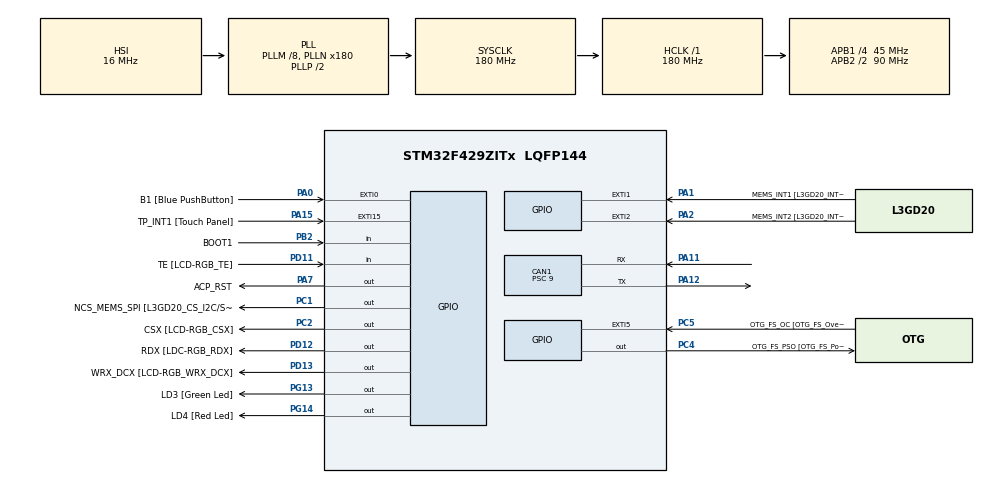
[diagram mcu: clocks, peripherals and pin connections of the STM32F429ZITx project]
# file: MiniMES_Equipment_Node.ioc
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CAN1.BS1=CAN_BS1_8TQ
CAN1.CalculateBaudRate=500000
CAN1.CalculateTimeBit=2000
CAN1.CalculateTimeQuantum=200.0
CAN1.Prescaler=9
FREERTOS.Tasks01=SensorTask,0,128,StartSensorTask,Default,NULL,Dynamic,NULL,NULL
Mcu.Family=STM32F4
Mcu.Name=STM32F429ZITx
Mcu.Package=LQFP144
NVIC.CAN1_RX0_IRQn=true\:5\:0\:false\:false\:true\:true\:true\:true\:true
NVIC.PriorityGroup=NVIC_PRIORITYGROUP_4
PA0/WKUP.GPIO_Label=B1 [Blue PushButton]
PA0/WKUP.GPIO_ModeDefaultEXTI=GPIO_MODE_EVT_RISING
PA0/WKUP.GPIO_PuPd=GPIO_NOPULL
PA0/WKUP.Signal=GPXTI0
PA1.GPIO_Label=MEMS_INT1 [L3GD20_INT1]
PA1.GPIO_ModeDefaultEXTI=GPIO_MODE_EVT_RISING
PA1.GPIO_PuPd=GPIO_NOPULL
PA1.Signal=GPXTI1
PA10.GPIO_Label=STLINK_TX [STM32F103CBT6_PA2]
PA10.Signal=USART1_RX
PA11.Mode=CAN_Activate
PA11.Signal=CAN1_RX
PA12.Mode=CAN_Activate
PA12.Signal=CAN1_TX
PA13.GPIO_Label=SWDIO
PA13.Mode=Serial_Wire
PA13.Signal=SYS_JTMS-SWDIO
PA14.GPIO_Label=SWCLK
PA14.Mode=Serial_Wire
PA14.Signal=SYS_JTCK-SWCLK
PA15.GPIO_Label=TP_INT1 [Touch Panel]
PA15.GPIO_ModeDefaultEXTI=GPIO_MODE_EVT_RISING
PA15.GPIO_PuPd=GPIO_NOPULL
PA15.Signal=GPXTI15
PA2.GPIO_Label=MEMS_INT2 [L3GD20_INT2]
PA2.GPIO_ModeDefaultEXTI=GPIO_MODE_EVT_RISING
PA2.GPIO_PuPd=GPIO_NOPULL
PA2.Signal=GPXTI2
PA3.GPIO_Label=B5
PA3.GPIO_Mode=GPIO_MODE_AF_PP
PA3.GPIO_PuPd=GPIO_NOPULL
PA3.GPIO_Speed=GPIO_SPEED_FREQ_LOW
PA3.Signal=LTDC_B5
PA4.GPIO_Label=VSYNC
PA4.GPIO_Mode=GPIO_MODE_AF_PP
PA4.GPIO_PuPd=GPIO_NOPULL
PA4.GPIO_Speed=GPIO_SPEED_FREQ_LOW
PA4.Signal=LTDC_VSYNC
PA6.GPIO_Label=G2
PA6.GPIO_Mode=GPIO_MODE_AF_PP
PA6.GPIO_PuPd=GPIO_NOPULL
PA6.GPIO_Speed=GPIO_SPEED_FREQ_LOW
PA6.Signal=LTDC_G2
PA7.GPIO_Label=ACP_RST
PA7.GPIO_Mode=GPIO_MODE_OUTPUT_PP
PA7.GPIO_PuPd=GPIO_NOPULL
PA7.GPIO_Speed=GPIO_SPEED_FREQ_LOW
PA7.Signal=GPIO_Output
PA8.GPIO_Label=I2C3_SCL [ACP/RF_SCL]
PA8.GPIO_Mode=GPIO_MODE_AF_OD
PA8.GPIO_PuPd=GPIO_NOPULL
PA8.GPIO_Speed=GPIO_SPEED_FREQ_LOW
PA8.Signal=I2C3_SCL
PA9.GPIO_Label=STLINK_RX [STM32F103CBT6_PA3]
PA9.Signal=USART1_TX
PB0.GPIO_Label=R3
PB0.GPIO_Mode=GPIO_MODE_AF_PP
PB0.GPIO_PuPd=GPIO_NOPULL
PB0.GPIO_Speed=GPIO_SPEED_FREQ_LOW
PB0.Signal=LTDC_R3
PB1.GPIO_Label=R6
PB1.GPIO_Mode=GPIO_MODE_AF_PP
PB1.GPIO_PuPd=GPIO_NOPULL
PB1.GPIO_Speed=GPIO_SPEED_FREQ_LOW
PB1.Signal=LTDC_R6
PB10.GPIO_Label=G4
PB10.GPIO_Mode=GPIO_MODE_AF_PP
PB10.GPIO_PuPd=GPIO_NOPULL
PB10.GPIO_Speed=GPIO_SPEED_FREQ_LOW
PB10.Signal=LTDC_G4
PB11.GPIO_Label=G5
PB11.GPIO_Mode=GPIO_MODE_AF_PP
PB11.GPIO_PuPd=GPIO_NOPULL
PB11.GPIO_Speed=GPIO_SPEED_FREQ_LOW
PB11.Signal=LTDC_G5
PB12.GPIO_Label=OTG_HS_ID
PB12.GPIO_Mode=GPIO_MODE_AF_PP
PB12.GPIO_PuPd=GPIO_NOPULL
PB12.GPIO_Speed=GPIO_SPEED_FREQ_LOW
PB12.Signal=USB_OTG_HS_ID
PB13.GPIO_Label=VBUS_HS
PB13.GPIO_Mode=GPIO_MODE_INPUT
PB13.GPIO_PuPd=GPIO_NOPULL
PB13.Signal=USB_OTG_HS_VBUS
PB14.GPIO_Label=OTG_HS_DM
PB14.GPIO_Mode=GPIO_MODE_AF_PP
PB14.GPIO_PuPd=GPIO_NOPULL
PB14.GPIO_Speed=GPIO_SPEED_FREQ_LOW
PB14.Signal=USB_OTG_HS_DM
PB15.GPIO_Label=OTG_HS_DP
PB15.GPIO_Mode=GPIO_MODE_AF_PP
PB15.GPIO_PuPd=GPIO_NOPULL
PB15.GPIO_Speed=GPIO_SPEED_FREQ_LOW
PB15.Signal=USB_OTG_HS_DP
PB2/BOOT1.GPIO_Label=BOOT1
PB2/BOOT1.GPIO_Mode=GPIO_MODE_INPUT
PB2/BOOT1.GPIO_PuPd=GPIO_NOPULL
PB2/BOOT1.Signal=GPIO_Input
PB5.GPIO_Label=SDCKE1
PB5.GPIO_Mode=GPIO_MODE_AF_PP
PB5.GPIO_PuPd=GPIO_NOPULL
PB5.GPIO_Speed=GPIO_SPEED_FREQ_VERY_HIGH
PB5.Signal=FMC_SDCKE1
PB6.GPIO_Label=SDNE1 [SDRAM_CS]
PB6.GPIO_Mode=GPIO_MODE_AF_PP
PB6.GPIO_PuPd=GPIO_NOPULL
PB6.GPIO_Speed=GPIO_SPEED_FREQ_VERY_HIGH
PB6.Signal=FMC_SDNE1
PB8.GPIO_Label=B6
PB8.GPIO_Mode=GPIO_MODE_AF_PP
PB8.GPIO_PuPd=GPIO_NOPULL
PB8.GPIO_Speed=GPIO_SPEED_FREQ_LOW
PB8.Signal=LTDC_B6
PB9.GPIO_Label=B7
PB9.GPIO_Mode=GPIO_MODE_AF_PP
PB9.GPIO_PuPd=GPIO_NOPULL
PB9.GPIO_Speed=GPIO_SPEED_FREQ_LOW
PB9.Signal=LTDC_B7
PC0.GPIO_Label=SDNWE
PC0.GPIO_Mode=GPIO_MODE_AF_PP
PC0.GPIO_PuPd=GPIO_NOPULL
PC0.GPIO_Speed=GPIO_SPEED_FREQ_VERY_HIGH
PC0.Signal=FMC_SDNWE
PC1.GPIO_Label=NCS_MEMS_SPI [L3GD20_CS_I2C/SPI]
PC1.GPIO_Mode=GPIO_MODE_OUTPUT_PP
PC1.GPIO_PuPd=GPIO_NOPULL
PC1.GPIO_Speed=GPIO_SPEED_FREQ_LOW
PC1.Signal=GPIO_Output
PC10.GPIO_Label=R2
PC10.GPIO_Mode=GPIO_MODE_AF_PP
PC10.GPIO_PuPd=GPIO_NOPULL
PC10.GPIO_Speed=GPIO_SPEED_FREQ_LOW
PC10.Signal=LTDC_R2
PC14/OSC32_IN.GPIO_Label=PC14-OSC32_IN
PC14/OSC32_IN.Signal=RCC_OSC32_IN
PC15/OSC32_OUT.GPIO_Label=PC15-OSC32_OUT
PC15/OSC32_OUT.Signal=RCC_OSC32_OUT
PC2.GPIO_Label=CSX [LCD-RGB_CSX]
PC2.GPIO_Mode=GPIO_MODE_OUTPUT_PP
PC2.GPIO_PuPd=GPIO_NOPULL
PC2.GPIO_Speed=GPIO_SPEED_FREQ_LOW
PC2.Signal=GPIO_Output
PC4.GPIO_Label=OTG_FS_PSO [OTG_FS_PowerSwitchOn]
PC4.GPIO_Mode=GPIO_MODE_OUTPUT_PP
PC4.GPIO_PuPd=GPIO_NOPULL
PC4.GPIO_Speed=GPIO_SPEED_FREQ_LOW
PC4.Signal=GPIO_Output
PC5.GPIO_Label=OTG_FS_OC [OTG_FS_OverCurrent]
PC5.GPIO_ModeDefaultEXTI=GPIO_MODE_EVT_RISING
PC5.Signal=GPXTI5
PC6.GPIO_Label=HSYNC
PC6.GPIO_Mode=GPIO_MODE_AF_PP
PC6.GPIO_PuPd=GPIO_NOPULL
PC6.GPIO_Speed=GPIO_SPEED_FREQ_LOW
PC6.Signal=LTDC_HSYNC
PC7.GPIO_Label=G6
PC7.GPIO_Mode=GPIO_MODE_AF_PP
PC7.GPIO_PuPd=GPIO_NOPULL
PC7.GPIO_Speed=GPIO_SPEED_FREQ_LOW
PC7.Signal=LTDC_G6
PC9.GPIO_Label=I2C3_SDA [ACP/RF_SDA]
PC9.GPIO_Mode=GPIO_MODE_AF_OD
PC9.GPIO_PuPd=GPIO_NOPULL
PC9.GPIO_Speed=GPIO_SPEED_FREQ_LOW
PC9.Signal=I2C3_SDA
PD0.GPIO_Label=D2
PD0.GPIO_Mode=GPIO_MODE_AF_PP
PD0.GPIO_PuPd=GPIO_NOPULL
PD0.GPIO_Speed=GPIO_SPEED_FREQ_VERY_HIGH
PD0.Signal=FMC_D2_DA2
PD1.GPIO_Label=D3
PD1.GPIO_Mode=GPIO_MODE_AF_PP
PD1.GPIO_PuPd=GPIO_NOPULL
PD1.GPIO_Speed=GPIO_SPEED_FREQ_VERY_HIGH
PD1.Signal=FMC_D3_DA3
PD10.GPIO_Label=D15
PD10.GPIO_Mode=GPIO_MODE_AF_PP
PD10.GPIO_PuPd=GPIO_NOPULL
PD10.GPIO_Speed=GPIO_SPEED_FREQ_VERY_HIGH
PD10.Signal=FMC_D15_DA15
PD11.GPIO_Label=TE [LCD-RGB_TE]
PD11.GPIO_Mode=GPIO_MODE_INPUT
PD11.GPIO_PuPd=GPIO_NOPULL
PD11.Signal=GPIO_Input
PD12.GPIO_Label=RDX [LDC-RGB_RDX]
PD12.GPIO_Mode=GPIO_MODE_OUTPUT_PP
PD12.GPIO_PuPd=GPIO_NOPULL
PD12.GPIO_Speed=GPIO_SPEED_FREQ_LOW
PD12.Signal=GPIO_Output
PD13.GPIO_Label=WRX_DCX [LCD-RGB_WRX_DCX]
PD13.GPIO_Mode=GPIO_MODE_OUTPUT_PP
PD13.GPIO_PuPd=GPIO_NOPULL
PD13.GPIO_Speed=GPIO_SPEED_FREQ_LOW
PD13.Signal=GPIO_Output
PD14.GPIO_Label=D0
PD14.GPIO_Mode=GPIO_MODE_AF_PP
PD14.GPIO_PuPd=GPIO_NOPULL
PD14.GPIO_Speed=GPIO_SPEED_FREQ_VERY_HIGH
PD14.Signal=FMC_D0_DA0
PD15.GPIO_Label=D1
PD15.GPIO_Mode=GPIO_MODE_AF_PP
PD15.GPIO_PuPd=GPIO_NOPULL
PD15.GPIO_Speed=GPIO_SPEED_FREQ_VERY_HIGH
PD15.Signal=FMC_D1_DA1
PD3.GPIO_Label=G7
PD3.GPIO_Mode=GPIO_MODE_AF_PP
PD3.GPIO_PuPd=GPIO_NOPULL
PD3.GPIO_Speed=GPIO_SPEED_FREQ_LOW
PD3.Signal=LTDC_G7
PD6.GPIO_Label=B2
PD6.GPIO_Mode=GPIO_MODE_AF_PP
PD6.GPIO_PuPd=GPIO_NOPULL
PD6.GPIO_Speed=GPIO_SPEED_FREQ_LOW
PD6.Signal=LTDC_B2
PD8.GPIO_Label=D13
PD8.GPIO_Mode=GPIO_MODE_AF_PP
PD8.GPIO_PuPd=GPIO_NOPULL
PD8.GPIO_Speed=GPIO_SPEED_FREQ_VERY_HIGH
PD8.Signal=FMC_D13_DA13
PD9.GPIO_Label=D14
PD9.GPIO_Mode=GPIO_MODE_AF_PP
PD9.GPIO_PuPd=GPIO_NOPULL
PD9.GPIO_Speed=GPIO_SPEED_FREQ_VERY_HIGH
PD9.Signal=FMC_D14_DA14
PE0.GPIO_Label=NBL0 [SDRAM_LDQM]
PE0.GPIO_Mode=GPIO_MODE_AF_PP
PE0.GPIO_PuPd=GPIO_NOPULL
PE0.GPIO_Speed=GPIO_SPEED_FREQ_VERY_HIGH
PE0.Signal=FMC_NBL0
PE1.GPIO_Label=NBL1 [SDRAM_UDQM]
PE1.GPIO_Mode=GPIO_MODE_AF_PP
PE1.GPIO_PuPd=GPIO_NOPULL
PE1.GPIO_Speed=GPIO_SPEED_FREQ_VERY_HIGH
PE1.Signal=FMC_NBL1
PE10.GPIO_Label=D7
PE10.GPIO_Mode=GPIO_MODE_AF_PP
PE10.GPIO_PuPd=GPIO_NOPULL
PE10.GPIO_Speed=GPIO_SPEED_FREQ_VERY_HIGH
PE10.Signal=FMC_D7_DA7
PE11.GPIO_Label=D8
PE11.GPIO_Mode=GPIO_MODE_AF_PP
PE11.GPIO_PuPd=GPIO_NOPULL
PE11.GPIO_Speed=GPIO_SPEED_FREQ_VERY_HIGH
PE11.Signal=FMC_D8_DA8
PE12.GPIO_Label=D9
PE12.GPIO_Mode=GPIO_MODE_AF_PP
PE12.GPIO_PuPd=GPIO_NOPULL
PE12.GPIO_Speed=GPIO_SPEED_FREQ_VERY_HIGH
PE12.Signal=FMC_D9_DA9
PE13.GPIO_Label=D10
PE13.GPIO_Mode=GPIO_MODE_AF_PP
PE13.GPIO_PuPd=GPIO_NOPULL
PE13.GPIO_Speed=GPIO_SPEED_FREQ_VERY_HIGH
PE13.Signal=FMC_D10_DA10
PE14.GPIO_Label=D11
PE14.GPIO_Mode=GPIO_MODE_AF_PP
PE14.GPIO_PuPd=GPIO_NOPULL
PE14.GPIO_Speed=GPIO_SPEED_FREQ_VERY_HIGH
PE14.Signal=FMC_D11_DA11
PE15.GPIO_Label=D12
PE15.GPIO_Mode=GPIO_MODE_AF_PP
PE15.GPIO_PuPd=GPIO_NOPULL
PE15.GPIO_Speed=GPIO_SPEED_FREQ_VERY_HIGH
PE15.Signal=FMC_D12_DA12
PE7.GPIO_Label=D4
PE7.GPIO_Mode=GPIO_MODE_AF_PP
PE7.GPIO_PuPd=GPIO_NOPULL
PE7.GPIO_Speed=GPIO_SPEED_FREQ_VERY_HIGH
PE7.Signal=FMC_D4_DA4
PE8.GPIO_Label=D5
PE8.GPIO_Mode=GPIO_MODE_AF_PP
PE8.GPIO_PuPd=GPIO_NOPULL
PE8.GPIO_Speed=GPIO_SPEED_FREQ_VERY_HIGH
PE8.Signal=FMC_D5_DA5
PE9.GPIO_Label=D6
PE9.GPIO_Mode=GPIO_MODE_AF_PP
PE9.GPIO_PuPd=GPIO_NOPULL
PE9.GPIO_Speed=GPIO_SPEED_FREQ_VERY_HIGH
PE9.Signal=FMC_D6_DA6
PF0.GPIO_Label=A0
PF0.GPIO_Mode=GPIO_MODE_AF_PP
PF0.GPIO_PuPd=GPIO_NOPULL
PF0.GPIO_Speed=GPIO_SPEED_FREQ_VERY_HIGH
PF0.Signal=FMC_A0
PF1.GPIO_Label=A1
PF1.GPIO_Mode=GPIO_MODE_AF_PP
PF1.GPIO_PuPd=GPIO_NOPULL
PF1.GPIO_Speed=GPIO_SPEED_FREQ_VERY_HIGH
PF1.Signal=FMC_A1
PF10.GPIO_Label=ENABLE [LCD-RGB_ENABLE]
PF10.GPIO_Mode=GPIO_MODE_AF_PP
PF10.GPIO_PuPd=GPIO_NOPULL
PF10.GPIO_Speed=GPIO_SPEED_FREQ_LOW
PF10.Signal=LTDC_DE
PF11.GPIO_Label=SDNRAS
PF11.GPIO_Mode=GPIO_MODE_AF_PP
PF11.GPIO_PuPd=GPIO_NOPULL
PF11.GPIO_Speed=GPIO_SPEED_FREQ_VERY_HIGH
PF11.Signal=FMC_SDNRAS
PF12.GPIO_Label=A6
PF12.GPIO_Mode=GPIO_MODE_AF_PP
PF12.GPIO_PuPd=GPIO_NOPULL
PF12.GPIO_Speed=GPIO_SPEED_FREQ_VERY_HIGH
PF12.Signal=FMC_A6
PF13.GPIO_Label=A7
PF13.GPIO_Mode=GPIO_MODE_AF_PP
PF13.GPIO_PuPd=GPIO_NOPULL
PF13.GPIO_Speed=GPIO_SPEED_FREQ_VERY_HIGH
PF13.Signal=FMC_A7
PF14.GPIO_Label=A8
PF14.GPIO_Mode=GPIO_MODE_AF_PP
PF14.GPIO_PuPd=GPIO_NOPULL
PF14.GPIO_Speed=GPIO_SPEED_FREQ_VERY_HIGH
PF14.Signal=FMC_A8
PF15.GPIO_Label=A9
PF15.GPIO_Mode=GPIO_MODE_AF_PP
PF15.GPIO_PuPd=GPIO_NOPULL
PF15.GPIO_Speed=GPIO_SPEED_FREQ_VERY_HIGH
PF15.Signal=FMC_A9
PF2.GPIO_Label=A2
PF2.GPIO_Mode=GPIO_MODE_AF_PP
PF2.GPIO_PuPd=GPIO_NOPULL
PF2.GPIO_Speed=GPIO_SPEED_FREQ_VERY_HIGH
PF2.Signal=FMC_A2
PF3.GPIO_Label=A3
PF3.GPIO_Mode=GPIO_MODE_AF_PP
PF3.GPIO_PuPd=GPIO_NOPULL
PF3.GPIO_Speed=GPIO_SPEED_FREQ_VERY_HIGH
PF3.Signal=FMC_A3
PF4.GPIO_Label=A4
PF4.GPIO_Mode=GPIO_MODE_AF_PP
PF4.GPIO_PuPd=GPIO_NOPULL
PF4.GPIO_Speed=GPIO_SPEED_FREQ_VERY_HIGH
PF4.Signal=FMC_A4
PF5.GPIO_Label=A5
PF5.GPIO_Mode=GPIO_MODE_AF_PP
PF5.GPIO_PuPd=GPIO_NOPULL
PF5.GPIO_Speed=GPIO_SPEED_FREQ_VERY_HIGH
PF5.Signal=FMC_A5
PF7.GPIO_Label=SPI5_SCK [L3GD20_SCL/SPC]
PF7.GPIO_Mode=GPIO_MODE_AF_PP
PF7.GPIO_PuPd=GPIO_NOPULL
PF7.GPIO_Speed=GPIO_SPEED_FREQ_LOW
PF7.Signal=SPI5_SCK
PF8.GPIO_Label=SPI5_MISO [L3GD20_SDO]
PF8.GPIO_Mode=GPIO_MODE_AF_PP
PF8.GPIO_PuPd=GPIO_NOPULL
PF8.GPIO_Speed=GPIO_SPEED_FREQ_LOW
PF8.Signal=SPI5_MISO
PF9.GPIO_Label=SPI5_MOSI [L3GD20_SDA/SDI/SDO]
PF9.GPIO_Mode=GPIO_MODE_AF_PP
PF9.GPIO_PuPd=GPIO_NOPULL
PF9.GPIO_Speed=GPIO_SPEED_FREQ_LOW
PF9.Signal=SPI5_MOSI
PG0.GPIO_Label=A10
PG0.GPIO_Mode=GPIO_MODE_AF_PP
PG0.GPIO_PuPd=GPIO_NOPULL
PG0.GPIO_Speed=GPIO_SPEED_FREQ_VERY_HIGH
PG0.Signal=FMC_A10
PG1.GPIO_Label=A11
PG1.GPIO_Mode=GPIO_MODE_AF_PP
PG1.GPIO_PuPd=GPIO_NOPULL
PG1.GPIO_Speed=GPIO_SPEED_FREQ_VERY_HIGH
PG1.Signal=FMC_A11
PG10.GPIO_Label=G3
PG10.GPIO_Mode=GPIO_MODE_AF_PP
PG10.GPIO_PuPd=GPIO_NOPULL
PG10.GPIO_Speed=GPIO_SPEED_FREQ_LOW
PG10.Signal=LTDC_G3
PG11.GPIO_Label=B3
PG11.GPIO_Mode=GPIO_MODE_AF_PP
PG11.GPIO_PuPd=GPIO_NOPULL
PG11.GPIO_Speed=GPIO_SPEED_FREQ_LOW
PG11.Signal=LTDC_B3
PG12.GPIO_Label=B4
PG12.GPIO_Mode=GPIO_MODE_AF_PP
PG12.GPIO_PuPd=GPIO_NOPULL
PG12.GPIO_Speed=GPIO_SPEED_FREQ_LOW
PG12.Signal=LTDC_B4
PG13.GPIO_Label=LD3 [Green Led]
PG13.GPIO_Mode=GPIO_MODE_OUTPUT_PP
PG13.GPIO_PuPd=GPIO_NOPULL
PG13.GPIO_Speed=GPIO_SPEED_FREQ_LOW
PG13.Signal=GPIO_Output
PG14.GPIO_Label=LD4 [Red Led]
PG14.GPIO_Mode=GPIO_MODE_OUTPUT_PP
PG14.GPIO_PuPd=GPIO_NOPULL
PG14.GPIO_Speed=GPIO_SPEED_FREQ_LOW
PG14.Signal=GPIO_Output
PG15.GPIO_Label=SDNCAS
PG15.GPIO_Mode=GPIO_MODE_AF_PP
PG15.GPIO_PuPd=GPIO_NOPULL
PG15.GPIO_Speed=GPIO_SPEED_FREQ_VERY_HIGH
PG15.Signal=FMC_SDNCAS
PG4.GPIO_Label=BA0
PG4.GPIO_Mode=GPIO_MODE_AF_PP
PG4.GPIO_PuPd=GPIO_NOPULL
PG4.GPIO_Speed=GPIO_SPEED_FREQ_VERY_HIGH
PG4.Signal=FMC_A14_BA0
PG5.GPIO_Label=BA1
PG5.GPIO_Mode=GPIO_MODE_AF_PP
PG5.GPIO_PuPd=GPIO_NOPULL
PG5.GPIO_Speed=GPIO_SPEED_FREQ_VERY_HIGH
PG5.Signal=FMC_A15_BA1
PG6.GPIO_Label=R7
PG6.GPIO_Mode=GPIO_MODE_AF_PP
PG6.GPIO_PuPd=GPIO_NOPULL
PG6.GPIO_Speed=GPIO_SPEED_FREQ_LOW
PG6.Signal=LTDC_R7
PG7.GPIO_Label=DOTCLK [LCT-RGB_DOTCLK]
PG7.GPIO_Mode=GPIO_MODE_AF_PP
PG7.GPIO_PuPd=GPIO_NOPULL
PG7.GPIO_Speed=GPIO_SPEED_FREQ_LOW
PG7.Signal=LTDC_CLK
PG8.GPIO_Label=SDCLK
PG8.GPIO_Mode=GPIO_MODE_AF_PP
PG8.GPIO_PuPd=GPIO_NOPULL
PG8.GPIO_Speed=GPIO_SPEED_FREQ_VERY_HIGH
PG8.Signal=FMC_SDCLK
PH0/OSC_IN.GPIO_Label=PH0-OSC_IN
PH0/OSC_IN.Mode=HSE-External-Oscillator
PH0/OSC_IN.Signal=RCC_OSC_IN
PH1/OSC_OUT.GPIO_Label=PH1-OSC_OUT
PH1/OSC_OUT.Mode=HSE-External-Oscillator
PH1/OSC_OUT.Signal=RCC_OSC_OUT
ProjectManager.HeapSize=0x200
ProjectManager.StackSize=0x400
ProjectManager.TargetToolchain=STM32CubeIDE
RCC.48MHZClocksFreq_Value=51428571.428571425
RCC.AHBFreq_Value=180000000
RCC.APB1CLKDivider=RCC_HCLK_DIV4
RCC.APB1Freq_Value=45000000
RCC.APB1TimFreq_Value=90000000
RCC.APB2CLKDivider=RCC_HCLK_DIV2
RCC.APB2Freq_Value=90000000
RCC.APB2TimFreq_Value=180000000
RCC.CortexFreq_Value=180000000
RCC.HCLKFreq_Value=180000000
RCC.HSE_VALUE=8000000
RCC.HSI_VALUE=16000000
RCC.LSE_VALUE=32768
RCC.PLLM=8
RCC.PLLN=180
RCC.PLLQ=7
RCC.SYSCLKFreq_VALUE=180000000
RCC.SYSCLKSource=RCC_SYSCLKSOURCE_PLLCLK
RCC.VCOOutputFreq_Value=360000000
SH.FMC_A0.0=FMC_A0
SH.FMC_A1.0=FMC_A1
SH.FMC_A10.0=FMC_A10
SH.FMC_A11.0=FMC_A11
SH.FMC_A14_BA0.0=FMC_BA0
SH.FMC_A15_BA1.0=FMC_BA1
SH.FMC_A2.0=FMC_A2
SH.FMC_A3.0=FMC_A3
SH.FMC_A4.0=FMC_A4
SH.FMC_A5.0=FMC_A5
SH.FMC_A6.0=FMC_A6
SH.FMC_A7.0=FMC_A7
SH.FMC_A8.0=FMC_A8
SH.FMC_A9.0=FMC_A9
SH.FMC_D0_DA0.0=FMC_D0
SH.FMC_D10_DA10.0=FMC_D10
SH.FMC_D11_DA11.0=FMC_D11
SH.FMC_D12_DA12.0=FMC_D12
SH.FMC_D13_DA13.0=FMC_D13
SH.FMC_D14_DA14.0=FMC_D14
SH.FMC_D15_DA15.0=FMC_D15
SH.FMC_D1_DA1.0=FMC_D1
SH.FMC_D2_DA2.0=FMC_D2
SH.FMC_D3_DA3.0=FMC_D3
SH.FMC_D4_DA4.0=FMC_D4
SH.FMC_D5_DA5.0=FMC_D5
SH.FMC_D6_DA6.0=FMC_D6
SH.FMC_D7_DA7.0=FMC_D7
SH.FMC_D8_DA8.0=FMC_D8
SH.FMC_D9_DA9.0=FMC_D9
SH.FMC_NBL0.0=FMC_NBL0
SH.FMC_NBL1.0=FMC_NBL1
SH.FMC_SDCLK.0=FMC_SDCLK
SH.FMC_SDNCAS.0=FMC_SDNCAS
SH.FMC_SDNRAS.0=FMC_SDNRAS
SH.FMC_SDNWE.0=FMC_SDNWE
VP_FREERTOS_VS_CMSIS_V1.Mode=CMSIS_V1
board=STM32F429I-DISC1

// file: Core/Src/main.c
/* USER CODE BEGIN Header */
/**
  ******************************************************************************
  * @file           : main.c
  * @brief          : Main program body
  ******************************************************************************
  * @attention
  *
  * Copyright (c) 2026 STMicroelectronics.
  * All rights reserved.
  *
  * This software is licensed under terms that can be found in the LICENSE file
  * in the root directory of this software component.
  * If no LICENSE file comes with this software, it is provided AS-IS.
  *
  ******************************************************************************
  */
/* USER CODE END Header */
#include "main.h"
#include "cmsis_os.h"

CAN_HandleTypeDef hcan1;

osThreadId SensorTaskHandle;
/* USER CODE BEGIN PV */

// ★ 현업 팁: 이 숫자만 1 또는 2로 변경하고 빌드하면 해당 보드의 펌웨어가 됩니다.
#define MY_NODE_ID 2

// 설비 보드의 CAN ID 자동 할당 (1호기면 0x010, 2호기면 0x020)
#define MY_CAN_ID (MY_NODE_ID == 1 ? 0x010 : 0x020)

// 설비 가상 상태 변수들 (공유 자원)
volatile uint8_t currentStatus = 0x00;  // 0: 정상, 1: 경고, 2: 에러(인터락)
volatile uint8_t currentTemp = 45;
volatile uint16_t currentRpm = 3000;
volatile uint16_t currentCurrent = 1200;
volatile uint8_t currentCount = 0;

/* USER CODE END PV */

void SystemClock_Config(void);
static void MX_GPIO_Init(void);
static void MX_CAN1_Init(void);
void StartSensorTask(void const * argument);

int main(void)
{

  /* MCU Configuration--------------------------------------------------------*/

  /* Reset of all peripherals, Initializes the Flash interface and the Systick. */
  HAL_Init();

  /* Configure the system clock */
  SystemClock_Config();

  /* Initialize all configured peripherals */
  MX_GPIO_Init();
  MX_CAN1_Init();
  /* USER CODE BEGIN 2 */

    // 1. CAN 필터 설정 (게이트웨이의 0x001 긴급정지 명령 수신용)
    CAN_FilterTypeDef canFilterConfig;
    canFilterConfig.FilterBank = 0;
    canFilterConfig.FilterMode = CAN_FILTERMODE_IDMASK;
    canFilterConfig.FilterScale = CAN_FILTERSCALE_32BIT;
    canFilterConfig.FilterIdHigh = 0x0000;
    canFilterConfig.FilterIdLow = 0x0000;
    canFilterConfig.FilterMaskIdHigh = 0x0000;
    canFilterConfig.FilterMaskIdLow = 0x0000;
    canFilterConfig.FilterFIFOAssignment = CAN_RX_FIFO0;
    canFilterConfig.FilterActivation = ENABLE;
    canFilterConfig.SlaveStartFilterBank = 14;

    HAL_CAN_ConfigFilter(&hcan1, &canFilterConfig);
    HAL_CAN_Start(&hcan1);
    HAL_CAN_ActivateNotification(&hcan1, CAN_IT_RX_FIFO0_MSG_PENDING); // 수신 인터럽트 ON

    /* USER CODE END 2 */

  /* Create the thread(s) */
  /* definition and creation of SensorTask */
  osThreadDef(SensorTask, StartSensorTask, osPriorityNormal, 0, 128);
  SensorTaskHandle = osThreadCreate(osThread(SensorTask), NULL);

  /* Start scheduler */
  osKernelStart();

  /* We should never get here as control is now taken by the scheduler */

  /* Infinite loop */
  while (1)
  {

  }
}

void SystemClock_Config(void)
{
  RCC_OscInitTypeDef RCC_OscInitStruct = {0};
  RCC_ClkInitTypeDef RCC_ClkInitStruct = {0};

  /** Configure the main internal regulator output voltage
  */
  __HAL_RCC_PWR_CLK_ENABLE();
  __HAL_PWR_VOLTAGESCALING_CONFIG(PWR_REGULATOR_VOLTAGE_SCALE1);

  /** Initializes the RCC Oscillators according to the specified parameters
  * in the RCC_OscInitTypeDef structure.
  */
  RCC_OscInitStruct.OscillatorType = RCC_OSCILLATORTYPE_HSI;
  RCC_OscInitStruct.HSIState = RCC_HSI_ON;
  RCC_OscInitStruct.HSICalibrationValue = RCC_HSICALIBRATION_DEFAULT;
  RCC_OscInitStruct.PLL.PLLState = RCC_PLL_ON;
  RCC_OscInitStruct.PLL.PLLSource = RCC_PLLSOURCE_HSI;
  RCC_OscInitStruct.PLL.PLLM = 8;
  RCC_OscInitStruct.PLL.PLLN = 180;
  RCC_OscInitStruct.PLL.PLLP = RCC_PLLP_DIV2;
  RCC_OscInitStruct.PLL.PLLQ = 7;
  if (HAL_RCC_OscConfig(&RCC_OscInitStruct) != HAL_OK)
  {
    Error_Handler();
  }

  /** Activate the Over-Drive mode
  */
  if (HAL_PWREx_EnableOverDrive() != HAL_OK)
  {
    Error_Handler();
  }

  /** Initializes the CPU, AHB and APB buses clocks
  */
  RCC_ClkInitStruct.ClockType = RCC_CLOCKTYPE_HCLK|RCC_CLOCKTYPE_SYSCLK
                              |RCC_CLOCKTYPE_PCLK1|RCC_CLOCKTYPE_PCLK2;
  RCC_ClkInitStruct.SYSCLKSource = RCC_SYSCLKSOURCE_PLLCLK;
  RCC_ClkInitStruct.AHBCLKDivider = RCC_SYSCLK_DIV1;
  RCC_ClkInitStruct.APB1CLKDivider = RCC_HCLK_DIV4;
  RCC_ClkInitStruct.APB2CLKDivider = RCC_HCLK_DIV2;

  if (HAL_RCC_ClockConfig(&RCC_ClkInitStruct, FLASH_LATENCY_5) != HAL_OK)
  {
    Error_Handler();
  }
}

static void MX_CAN1_Init(void)
{

  hcan1.Instance = CAN1;
  hcan1.Init.Prescaler = 9;
  hcan1.Init.Mode = CAN_MODE_NORMAL;
  hcan1.Init.SyncJumpWidth = CAN_SJW_1TQ;
  hcan1.Init.TimeSeg1 = CAN_BS1_8TQ;
  hcan1.Init.TimeSeg2 = CAN_BS2_1TQ;
  hcan1.Init.TimeTriggeredMode = DISABLE;
  hcan1.Init.AutoBusOff = DISABLE;
  hcan1.Init.AutoWakeUp = DISABLE;
  hcan1.Init.AutoRetransmission = DISABLE;
  hcan1.Init.ReceiveFifoLocked = DISABLE;
  hcan1.Init.TransmitFifoPriority = DISABLE;
  if (HAL_CAN_Init(&hcan1) != HAL_OK)
  {
    Error_Handler();
  }

}

static void MX_GPIO_Init(void)
{
  GPIO_InitTypeDef GPIO_InitStruct = {0};

  /* GPIO Ports Clock Enable */
  __HAL_RCC_GPIOC_CLK_ENABLE();
  __HAL_RCC_GPIOF_CLK_ENABLE();
  __HAL_RCC_GPIOH_CLK_ENABLE();
  __HAL_RCC_GPIOA_CLK_ENABLE();
  __HAL_RCC_GPIOB_CLK_ENABLE();
  __HAL_RCC_GPIOG_CLK_ENABLE();
  __HAL_RCC_GPIOE_CLK_ENABLE();
  __HAL_RCC_GPIOD_CLK_ENABLE();

  /*Configure GPIO pin Output Level */
  HAL_GPIO_WritePin(GPIOC, NCS_MEMS_SPI_Pin|CSX_Pin|OTG_FS_PSO_Pin, GPIO_PIN_RESET);

  /*Configure GPIO pin Output Level */
  HAL_GPIO_WritePin(ACP_RST_GPIO_Port, ACP_RST_Pin, GPIO_PIN_RESET);

  /*Configure GPIO pin Output Level */
  HAL_GPIO_WritePin(GPIOD, RDX_Pin|WRX_DCX_Pin, GPIO_PIN_RESET);

  /*Configure GPIO pin Output Level */
  HAL_GPIO_WritePin(GPIOG, LD3_Pin|LD4_Pin, GPIO_PIN_RESET);

  /*Configure GPIO pins : A0_Pin A1_Pin A2_Pin A3_Pin
                           A4_Pin A5_Pin SDNRAS_Pin A6_Pin
                           A7_Pin A8_Pin A9_Pin */
  GPIO_InitStruct.Pin = A0_Pin|A1_Pin|A2_Pin|A3_Pin
                          |A4_Pin|A5_Pin|SDNRAS_Pin|A6_Pin
                          |A7_Pin|A8_Pin|A9_Pin;
  GPIO_InitStruct.Mode = GPIO_MODE_AF_PP;
  GPIO_InitStruct.Pull = GPIO_NOPULL;
  GPIO_InitStruct.Speed = GPIO_SPEED_FREQ_VERY_HIGH;
  GPIO_InitStruct.Alternate = GPIO_AF12_FMC;
  HAL_GPIO_Init(GPIOF, &GPIO_InitStruct);

  /*Configure GPIO pins : SPI5_SCK_Pin SPI5_MISO_Pin SPI5_MOSI_Pin */
  GPIO_InitStruct.Pin = SPI5_SCK_Pin|SPI5_MISO_Pin|SPI5_MOSI_Pin;
  GPIO_InitStruct.Mode = GPIO_MODE_AF_PP;
  GPIO_InitStruct.Pull = GPIO_NOPULL;
  GPIO_InitStruct.Speed = GPIO_SPEED_FREQ_LOW;
  GPIO_InitStruct.Alternate = GPIO_AF5_SPI5;
  HAL_GPIO_Init(GPIOF, &GPIO_InitStruct);

  /*Configure GPIO pin : ENABLE_Pin */
  GPIO_InitStruct.Pin = ENABLE_Pin;
  GPIO_InitStruct.Mode = GPIO_MODE_AF_PP;
  GPIO_InitStruct.Pull = GPIO_NOPULL;
  GPIO_InitStruct.Speed = GPIO_SPEED_FREQ_LOW;
  GPIO_InitStruct.Alternate = GPIO_AF14_LTDC;
  HAL_GPIO_Init(ENABLE_GPIO_Port, &GPIO_InitStruct);

  /*Configure GPIO pin : SDNWE_Pin */
  GPIO_InitStruct.Pin = SDNWE_Pin;
  GPIO_InitStruct.Mode = GPIO_MODE_AF_PP;
  GPIO_InitStruct.Pull = GPIO_NOPULL;
  GPIO_InitStruct.Speed = GPIO_SPEED_FREQ_VERY_HIGH;
  GPIO_InitStruct.Alternate = GPIO_AF12_FMC;
  HAL_GPIO_Init(SDNWE_GPIO_Port, &GPIO_InitStruct);

  /*Configure GPIO pins : NCS_MEMS_SPI_Pin CSX_Pin OTG_FS_PSO_Pin */
  GPIO_InitStruct.Pin = NCS_MEMS_SPI_Pin|CSX_Pin|OTG_FS_PSO_Pin;
  GPIO_InitStruct.Mode = GPIO_MODE_OUTPUT_PP;
  GPIO_InitStruct.Pull = GPIO_NOPULL;
  GPIO_InitStruct.Speed = GPIO_SPEED_FREQ_LOW;
  HAL_GPIO_Init(GPIOC, &GPIO_InitStruct);

  /*Configure GPIO pins : B1_Pin MEMS_INT1_Pin MEMS_INT2_Pin TP_INT1_Pin */
  GPIO_InitStruct.Pin = B1_Pin|MEMS_INT1_Pin|MEMS_INT2_Pin|TP_INT1_Pin;
  GPIO_InitStruct.Mode = GPIO_MODE_EVT_RISING;
  GPIO_InitStruct.Pull = GPIO_NOPULL;
  HAL_GPIO_Init(GPIOA, &GPIO_InitStruct);

  /*Configure GPIO pins : B5_Pin VSYNC_Pin G2_Pin */
  GPIO_InitStruct.Pin = B5_Pin|VSYNC_Pin|G2_Pin;
  GPIO_InitStruct.Mode = GPIO_MODE_AF_PP;
  GPIO_InitStruct.Pull = GPIO_NOPULL;
  GPIO_InitStruct.Speed = GPIO_SPEED_FREQ_LOW;
  GPIO_InitStruct.Alternate = GPIO_AF14_LTDC;
  HAL_GPIO_Init(GPIOA, &GPIO_InitStruct);

  /*Configure GPIO pin : ACP_RST_Pin */
  GPIO_InitStruct.Pin = ACP_RST_Pin;
  GPIO_InitStruct.Mode = GPIO_MODE_OUTPUT_PP;
  GPIO_InitStruct.Pull = GPIO_NOPULL;
  GPIO_InitStruct.Speed = GPIO_SPEED_FREQ_LOW;
  HAL_GPIO_Init(ACP_RST_GPIO_Port, &GPIO_InitStruct);

  /*Configure GPIO pin : OTG_FS_OC_Pin */
  GPIO_InitStruct.Pin = OTG_FS_OC_Pin;
  GPIO_InitStruct.Mode = GPIO_MODE_EVT_RISING;
  GPIO_InitStruct.Pull = GPIO_NOPULL;
  HAL_GPIO_Init(OTG_FS_OC_GPIO_Port, &GPIO_InitStruct);

  /*Configure GPIO pins : R3_Pin R6_Pin */
  GPIO_InitStruct.Pin = R3_Pin|R6_Pin;
  GPIO_InitStruct.Mode = GPIO_MODE_AF_PP;
  GPIO_InitStruct.Pull = GPIO_NOPULL;
  GPIO_InitStruct.Speed = GPIO_SPEED_FREQ_LOW;
  GPIO_InitStruct.Alternate = GPIO_AF9_LTDC;
  HAL_GPIO_Init(GPIOB, &GPIO_InitStruct);

  /*Configure GPIO pin : BOOT1_Pin */
  GPIO_InitStruct.Pin = BOOT1_Pin;
  GPIO_InitStruct.Mode = GPIO_MODE_INPUT;
  GPIO_InitStruct.Pull = GPIO_NOPULL;
  HAL_GPIO_Init(BOOT1_GPIO_Port, &GPIO_InitStruct);

  /*Configure GPIO pins : A10_Pin A11_Pin BA0_Pin BA1_Pin
                           SDCLK_Pin SDNCAS_Pin */
  GPIO_InitStruct.Pin = A10_Pin|A11_Pin|BA0_Pin|BA1_Pin
                          |SDCLK_Pin|SDNCAS_Pin;
  GPIO_InitStruct.Mode = GPIO_MODE_AF_PP;
  GPIO_InitStruct.Pull = GPIO_NOPULL;
  GPIO_InitStruct.Speed = GPIO_SPEED_FREQ_VERY_HIGH;
  GPIO_InitStruct.Alternate = GPIO_AF12_FMC;
  HAL_GPIO_Init(GPIOG, &GPIO_InitStruct);

  /*Configure GPIO pins : D4_Pin D5_Pin D6_Pin D7_Pin
                           D8_Pin D9_Pin D10_Pin D11_Pin
                           D12_Pin NBL0_Pin NBL1_Pin */
  GPIO_InitStruct.Pin = D4_Pin|D5_Pin|D6_Pin|D7_Pin
                          |D8_Pin|D9_Pin|D10_Pin|D11_Pin
                          |D12_Pin|NBL0_Pin|NBL1_Pin;
  GPIO_InitStruct.Mode = GPIO_MODE_AF_PP;
  GPIO_InitStruct.Pull = GPIO_NOPULL;
  GPIO_InitStruct.Speed = GPIO_SPEED_FREQ_VERY_HIGH;
  GPIO_InitStruct.Alternate = GPIO_AF12_FMC;
  HAL_GPIO_Init(GPIOE, &GPIO_InitStruct);

  /*Configure GPIO pins : G4_Pin G5_Pin B6_Pin B7_Pin */
  GPIO_InitStruct.Pin = G4_Pin|G5_Pin|B6_Pin|B7_Pin;
  GPIO_InitStruct.Mode = GPIO_MODE_AF_PP;
  GPIO_InitStruct.Pull = GPIO_NOPULL;
  GPIO_InitStruct.Speed = GPIO_SPEED_FREQ_LOW;
  GPIO_InitStruct.Alternate = GPIO_AF14_LTDC;
  HAL_GPIO_Init(GPIOB, &GPIO_InitStruct);

  /*Configure GPIO pins : OTG_HS_ID_Pin OTG_HS_DM_Pin OTG_HS_DP_Pin */
  GPIO_InitStruct.Pin = OTG_HS_ID_Pin|OTG_HS_DM_Pin|OTG_HS_DP_Pin;
  GPIO_InitStruct.Mode = GPIO_MODE_AF_PP;
  GPIO_InitStruct.Pull = GPIO_NOPULL;
  GPIO_InitStruct.Speed = GPIO_SPEED_FREQ_LOW;
  GPIO_InitStruct.Alternate = GPIO_AF12_OTG_HS_FS;
  HAL_GPIO_Init(GPIOB, &GPIO_InitStruct);

  /*Configure GPIO pin : VBUS_HS_Pin */
  GPIO_InitStruct.Pin = VBUS_HS_Pin;
  GPIO_InitStruct.Mode = GPIO_MODE_INPUT;
  GPIO_InitStruct.Pull = GPIO_NOPULL;
  HAL_GPIO_Init(VBUS_HS_GPIO_Port, &GPIO_InitStruct);

  /*Configure GPIO pins : D13_Pin D14_Pin D15_Pin D0_Pin
                           D1_Pin D2_Pin D3_Pin */
  GPIO_InitStruct.Pin = D13_Pin|D14_Pin|D15_Pin|D0_Pin
                          |D1_Pin|D2_Pin|D3_Pin;
  GPIO_InitStruct.Mode = GPIO_MODE_AF_PP;
  GPIO_InitStruct.Pull = GPIO_NOPULL;
  GPIO_InitStruct.Speed = GPIO_SPEED_FREQ_VERY_HIGH;
  GPIO_InitStruct.Alternate = GPIO_AF12_FMC;
  HAL_GPIO_Init(GPIOD, &GPIO_InitStruct);

  /*Configure GPIO pin : TE_Pin */
  GPIO_InitStruct.Pin = TE_Pin;
  GPIO_InitStruct.Mode = GPIO_MODE_INPUT;
  GPIO_InitStruct.Pull = GPIO_NOPULL;
  HAL_GPIO_Init(TE_GPIO_Port, &GPIO_InitStruct);

  /*Configure GPIO pins : RDX_Pin WRX_DCX_Pin */
  GPIO_InitStruct.Pin = RDX_Pin|WRX_DCX_Pin;
  GPIO_InitStruct.Mode = GPIO_MODE_OUTPUT_PP;
  GPIO_InitStruct.Pull = GPIO_NOPULL;
  GPIO_InitStruct.Speed = GPIO_SPEED_FREQ_LOW;
  HAL_GPIO_Init(GPIOD, &GPIO_InitStruct);

  /*Configure GPIO pins : R7_Pin DOTCLK_Pin B3_Pin */
  GPIO_InitStruct.Pin = R7_Pin|DOTCLK_Pin|B3_Pin;
  GPIO_InitStruct.Mode = GPIO_MODE_AF_PP;
  GPIO_InitStruct.Pull = GPIO_NOPULL;
  GPIO_InitStruct.Speed = GPIO_SPEED_FREQ_LOW;
  GPIO_InitStruct.Alternate = GPIO_AF14_LTDC;
  HAL_GPIO_Init(GPIOG, &GPIO_InitStruct);

  /*Configure GPIO pins : HSYNC_Pin G6_Pin R2_Pin */
  GPIO_InitStruct.Pin = HSYNC_Pin|G6_Pin|R2_Pin;
  GPIO_InitStruct.Mode = GPIO_MODE_AF_PP;
  GPIO_InitStruct.Pull = GPIO_NOPULL;
  GPIO_InitStruct.Speed = GPIO_SPEED_FREQ_LOW;
  GPIO_InitStruct.Alternate = GPIO_AF14_LTDC;
  HAL_GPIO_Init(GPIOC, &GPIO_InitStruct);

  /*Configure GPIO pin : I2C3_SDA_Pin */
  GPIO_InitStruct.Pin = I2C3_SDA_Pin;
  GPIO_InitStruct.Mode = GPIO_MODE_AF_OD;
  GPIO_InitStruct.Pull = GPIO_NOPULL;
  GPIO_InitStruct.Speed = GPIO_SPEED_FREQ_LOW;
  GPIO_InitStruct.Alternate = GPIO_AF4_I2C3;
  HAL_GPIO_Init(I2C3_SDA_GPIO_Port, &GPIO_InitStruct);

  /*Configure GPIO pin : I2C3_SCL_Pin */
  GPIO_InitStruct.Pin = I2C3_SCL_Pin;
  GPIO_InitStruct.Mode = GPIO_MODE_AF_OD;
  GPIO_InitStruct.Pull = GPIO_NOPULL;
  GPIO_InitStruct.Speed = GPIO_SPEED_FREQ_LOW;
  GPIO_InitStruct.Alternate = GPIO_AF4_I2C3;
  HAL_GPIO_Init(I2C3_SCL_GPIO_Port, &GPIO_InitStruct);

  /*Configure GPIO pins : STLINK_RX_Pin STLINK_TX_Pin */
  GPIO_InitStruct.Pin = STLINK_RX_Pin|STLINK_TX_Pin;
  GPIO_InitStruct.Mode = GPIO_MODE_AF_PP;
  GPIO_InitStruct.Pull = GPIO_NOPULL;
  GPIO_InitStruct.Speed = GPIO_SPEED_FREQ_VERY_HIGH;
  GPIO_InitStruct.Alternate = GPIO_AF7_USART1;
  HAL_GPIO_Init(GPIOA, &GPIO_InitStruct);

  /*Configure GPIO pins : G7_Pin B2_Pin */
  GPIO_InitStruct.Pin = G7_Pin|B2_Pin;
  GPIO_InitStruct.Mode = GPIO_MODE_AF_PP;
  GPIO_InitStruct.Pull = GPIO_NOPULL;
  GPIO_InitStruct.Speed = GPIO_SPEED_FREQ_LOW;
  GPIO_InitStruct.Alternate = GPIO_AF14_LTDC;
  HAL_GPIO_Init(GPIOD, &GPIO_InitStruct);

  /*Configure GPIO pins : G3_Pin B4_Pin */
  GPIO_InitStruct.Pin = G3_Pin|B4_Pin;
  GPIO_InitStruct.Mode = GPIO_MODE_AF_PP;
  GPIO_InitStruct.Pull = GPIO_NOPULL;
  GPIO_InitStruct.Speed = GPIO_SPEED_FREQ_LOW;
  GPIO_InitStruct.Alternate = GPIO_AF9_LTDC;
  HAL_GPIO_Init(GPIOG, &GPIO_InitStruct);

  /*Configure GPIO pins : LD3_Pin LD4_Pin */
  GPIO_InitStruct.Pin = LD3_Pin|LD4_Pin;
  GPIO_InitStruct.Mode = GPIO_MODE_OUTPUT_PP;
  GPIO_InitStruct.Pull = GPIO_NOPULL;
  GPIO_InitStruct.Speed = GPIO_SPEED_FREQ_LOW;
  HAL_GPIO_Init(GPIOG, &GPIO_InitStruct);

  /*Configure GPIO pins : SDCKE1_Pin SDNE1_Pin */
  GPIO_InitStruct.Pin = SDCKE1_Pin|SDNE1_Pin;
  GPIO_InitStruct.Mode = GPIO_MODE_AF_PP;
  GPIO_InitStruct.Pull = GPIO_NOPULL;
  GPIO_InitStruct.Speed = GPIO_SPEED_FREQ_VERY_HIGH;
  GPIO_InitStruct.Alternate = GPIO_AF12_FMC;
  HAL_GPIO_Init(GPIOB, &GPIO_InitStruct);

}

/* USER CODE BEGIN 4 */
/* USER CODE BEGIN 4 */

void HAL_CAN_RxFifo0MsgPendingCallback(CAN_HandleTypeDef *hcan)
{
  CAN_RxHeaderTypeDef RxHeader;
  uint8_t RxData[8];

  if (HAL_CAN_GetRxMessage(hcan, CAN_RX_FIFO0, &RxHeader, RxData) == HAL_OK)
  {
    // 1. 수신된 메시지가 최고 우선순위 제어 명령(0x001)인지 확인
    if (RxHeader.StdId == 0x001)
    {
      // 2. 명령의 타겟이 '전체(0x00)'이거나 '나 자신(MY_NODE_ID)'인지 판별
      if (RxData[0] == 0x00 || RxData[0] == MY_NODE_ID)
      {
    	  // ★ 여기에 넣어야 진짜 2호기 정지 명령이 도달했는지 증명됩니다!
    	 HAL_GPIO_TogglePin(GPIOG, LD3_Pin);
         if (RxData[1] == 0xFF) // 0xFF: 긴급 정지(Interlock) 발동
         {
             // 즉시 상태를 에러(2)로 변경하고 구동부 전원(RPM, mA) 강제 차단
             currentStatus = 0x02;
             currentRpm = 0;
             currentCurrent = 0;

             // (실무에서는 이 위치에 모터 드라이버 PWM 출력을 강제 off 하는 HAL_TIM_PWM_Stop 코드가 들어갑니다.)
         }
      }
    }
  }
}

/* USER CODE END 4 */
/* USER CODE END 4 */

void StartSensorTask(void const * argument)
{
  /* USER CODE BEGIN 5 */
  /* Infinite loop */
	/* USER CODE BEGIN StartSensorTask */
	  CAN_TxHeaderTypeDef TxHeader;
	  uint8_t TxData[8];
	  uint32_t TxMailbox;

	  TxHeader.StdId = MY_CAN_ID; // 매크로에 의해 0x010 또는 0x020으로 자동 세팅됨
	  TxHeader.RTR = CAN_RTR_DATA;
	  TxHeader.IDE = CAN_ID_STD;
	  TxHeader.DLC = 8;

	  /* Infinite loop */
	  for(;;)
	  {
	    // 1. 상태가 에러(0x02)가 아닐 때만 정상적으로 공정이 돌아가며 데이터가 변동됨
	    if(currentStatus != 0x02) {
	        currentTemp = (rand() % 5) + 60;        // 60~64도
	        currentRpm = 3000 + (rand() % 100);     // 3000~3099 RPM
	        currentCurrent = 1200 + (rand() % 50);  // 1200~1249 mA
	        currentCount++;
	    }

	    // 2. 8바이트 CAN 페이로드 조립 (리틀 엔디안)
	    TxData[0] = currentStatus;
	    TxData[1] = currentTemp;
	    TxData[2] = (uint8_t)(currentRpm & 0xFF);
	    TxData[3] = (uint8_t)((currentRpm >> 8) & 0xFF);
	    TxData[4] = (uint8_t)(currentCurrent & 0xFF);
	    TxData[5] = (uint8_t)((currentCurrent >> 8) & 0xFF);
	    TxData[6] = currentCount;
	    TxData[7] = 0x00;

	    // 3. CAN 버스 송출
	    HAL_CAN_AddTxMessage(&hcan1, &TxHeader, TxData, &TxMailbox);

	    // 500ms 주기 (RTOS 스케줄러 휴식)
	    osDelay(500);
	  }
	/* USER CODE END StartSensorTask */
  /* USER CODE END 5 */
}

void Error_Handler(void)
{
  __disable_irq();
  while (1)
  {
  }
}
